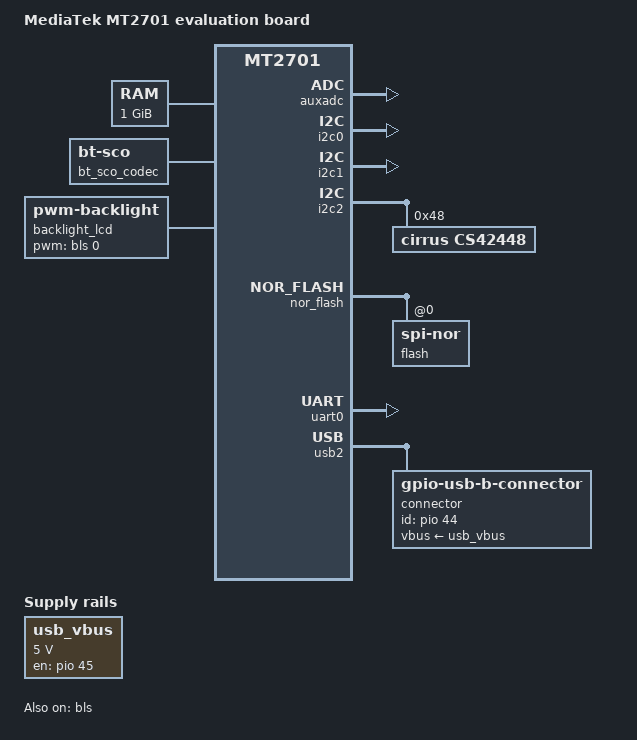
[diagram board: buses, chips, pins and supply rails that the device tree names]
// SPDX-License-Identifier: GPL-2.0
/*
 * Copyright (c) 2015 MediaTek Inc.
 * Author: Erin Lo <erin.lo@mediatek.com>
 *
 */

/dts-v1/;
#include <dt-bindings/gpio/gpio.h>
#include "mt2701.dtsi"

/ {
	model = "MediaTek MT2701 evaluation board";
	compatible = "mediatek,mt2701-evb", "mediatek,mt2701";

	memory {
		device_type = "memory";
		reg = <0 0x80000000 0 0x40000000>;
	};

	sound:sound {
		compatible = "mediatek,mt2701-cs42448-machine";
		mediatek,platform = <&afe>;
		/* CS42448 Machine name */
		audio-routing =
		"Line Out Jack", "AOUT1L",
		"Line Out Jack", "AOUT1R",
		"Line Out Jack", "AOUT2L",
		"Line Out Jack", "AOUT2R",
		"Line Out Jack", "AOUT3L",
		"Line Out Jack", "AOUT3R",
		"Line Out Jack", "AOUT4L",
		"Line Out Jack", "AOUT4R",
		"AIN1L", "AMIC",
		"AIN1R", "AMIC",
		"AIN2L", "Tuner In",
		"AIN2R", "Tuner In",
		"AIN3L", "Satellite Tuner In",
		"AIN3R", "Satellite Tuner In",
		"AIN3L", "AUX In",
		"AIN3R", "AUX In";
		mediatek,audio-codec = <&cs42448>;
		mediatek,audio-codec-bt-mrg = <&bt_sco_codec>;
		pinctrl-names = "default";
		pinctrl-0 = <&aud_pins_default>;
		i2s1-in-sel-gpio1 = <&pio 53 0>;
		i2s1-in-sel-gpio2 = <&pio 54 0>;
		status = "okay";
	};

	bt_sco_codec:bt_sco_codec {
		compatible = "linux,bt-sco";
	};

	backlight_lcd: backlight_lcd {
		compatible = "pwm-backlight";
		pwms = <&bls 0 100000>;
		brightness-levels = <
			  0  16  32  48  64  80  96 112
			128 144 160 176 192 208 224 240
			255
		>;
		default-brightness-level = <9>;
	};

	usb_vbus: regulator@0 {
		compatible = "regulator-fixed";
		regulator-name = "usb_vbus";
		regulator-min-microvolt = <5000000>;
		regulator-max-microvolt = <5000000>;
		gpio = <&pio 45 GPIO_ACTIVE_HIGH>;
		enable-active-high;
	};
};

&auxadc {
	status = "okay";
};

&bls {
	status = "okay";
	pinctrl-names = "default";
	pinctrl-0 = <&pwm_bls_gpio>;
};

&i2c0 {
	pinctrl-names = "default";
	pinctrl-0 = <&i2c0_pins_a>;
	status = "okay";
};

&i2c1 {
	pinctrl-names = "default";
	pinctrl-0 = <&i2c1_pins_a>;
	status = "okay";
};

&i2c2 {
	pinctrl-names = "default";
	pinctrl-0 = <&i2c2_pins_a>;
	status = "okay";
	cs42448: cs42448@48 {
		compatible = "cirrus,cs42448";
		reg = <0x48>;
		clocks = <&topckgen CLK_TOP_AUD_I2S1_MCLK>;
		clock-names = "mclk";
	};
};

&pio {
	i2c0_pins_a: i2c0@0 {
		pins1 {
			pinmux = <MT2701_PIN_75_SDA0__FUNC_SDA0>,
				 <MT2701_PIN_76_SCL0__FUNC_SCL0>;
			bias-disable;
		};
	};

	i2c1_pins_a: i2c1@0 {
		pins1 {
			pinmux = <MT2701_PIN_57_SDA1__FUNC_SDA1>,
				 <MT2701_PIN_58_SCL1__FUNC_SCL1>;
			bias-disable;
		};
	};

	i2c2_pins_a: i2c2@0 {
		pins1 {
			pinmux = <MT2701_PIN_77_SDA2__FUNC_SDA2>,
				 <MT2701_PIN_78_SCL2__FUNC_SCL2>;
			bias-disable;
		};
	};

	pwm_bls_gpio: pwm_bls_gpio {
		pins_cmd_dat {
			pinmux = <MT2701_PIN_208_AUD_EXT_CK1__FUNC_DISP_PWM>;
		};
	};

	spi_pins_a: spi0@0 {
		pins_spi {
			pinmux = <MT2701_PIN_53_SPI0_CSN__FUNC_SPI0_CS>,
				 <MT2701_PIN_54_SPI0_CK__FUNC_SPI0_CK>,
				 <MT2701_PIN_55_SPI0_MI__FUNC_SPI0_MI>,
				 <MT2701_PIN_56_SPI0_MO__FUNC_SPI0_MO>;
			bias-disable;
		};
	};

	aud_pins_default: audiodefault {
		pins_cmd_dat {
			pinmux = <MT2701_PIN_49_I2S0_DATA__FUNC_I2S0_DATA>,
				 <MT2701_PIN_72_I2S0_DATA_IN__FUNC_I2S0_DATA_IN>,
				 <MT2701_PIN_73_I2S0_LRCK__FUNC_I2S0_LRCK>,
				 <MT2701_PIN_74_I2S0_BCK__FUNC_I2S0_BCK>,
				 <MT2701_PIN_126_I2S0_MCLK__FUNC_I2S0_MCLK>,
				 <MT2701_PIN_33_I2S1_DATA__FUNC_I2S1_DATA>,
				 <MT2701_PIN_34_I2S1_DATA_IN__FUNC_I2S1_DATA_IN>,
				 <MT2701_PIN_35_I2S1_BCK__FUNC_I2S1_BCK>,
				 <MT2701_PIN_36_I2S1_LRCK__FUNC_I2S1_LRCK>,
				 <MT2701_PIN_37_I2S1_MCLK__FUNC_I2S1_MCLK>,
				 <MT2701_PIN_203_PWM0__FUNC_I2S2_DATA>,
				 <MT2701_PIN_204_PWM1__FUNC_I2S3_DATA>,
				 <MT2701_PIN_53_SPI0_CSN__FUNC_GPIO53>,
				 <MT2701_PIN_54_SPI0_CK__FUNC_GPIO54>,
				 <MT2701_PIN_18_PCM_CLK__FUNC_MRG_CLK>,
				 <MT2701_PIN_19_PCM_SYNC__FUNC_MRG_SYNC>,
				 <MT2701_PIN_20_PCM_RX__FUNC_MRG_TX>,
				 <MT2701_PIN_21_PCM_TX__FUNC_MRG_RX>;
			drive-strength = <MTK_DRIVE_12mA>;
			bias-pull-down;
		};
	};

	spi_pins_b: spi1@0 {
		pins_spi {
			pinmux = <MT2701_PIN_7_SPI1_CSN__FUNC_SPI1_CS>,
				 <MT2701_PIN_8_SPI1_MI__FUNC_SPI1_MI>,
				 <MT2701_PIN_9_SPI1_MO__FUNC_SPI1_MO>,
				 <MT2701_PIN_199_SPI1_CLK__FUNC_SPI1_CK>;
			bias-disable;
		};
	};

	spi_pins_c: spi2@0 {
		pins_spi {
			pinmux = <MT2701_PIN_101_SPI2_CSN__FUNC_SPI2_CS>,
				 <MT2701_PIN_102_SPI2_MI__FUNC_SPI2_MI>,
				 <MT2701_PIN_103_SPI2_MO__FUNC_SPI2_MO>,
				 <MT2701_PIN_104_SPI2_CLK__FUNC_SPI2_CK>;
			bias-disable;
		};
	};
};

&spi0 {
	pinctrl-names = "default";
	pinctrl-0 = <&spi_pins_a>;
	status = "disabled";
};

&spi1 {
	pinctrl-names = "default";
	pinctrl-0 = <&spi_pins_b>;
	status = "disabled";
};

&spi2 {
	pinctrl-names = "default";
	pinctrl-0 = <&spi_pins_c>;
	status = "disabled";
};

&nor_flash {
	pinctrl-names = "default";
	pinctrl-0 = <&nor_pins_default>;
	status = "okay";
	flash@0 {
		compatible = "jedec,spi-nor";
		reg = <0>;
	};
};

&pio {
	nor_pins_default: nor {
		pins1 {
			pinmux = <MT2701_PIN_240_EXT_XCS__FUNC_EXT_XCS>,
				 <MT2701_PIN_241_EXT_SCK__FUNC_EXT_SCK>,
				 <MT2701_PIN_239_EXT_SDIO0__FUNC_EXT_SDIO0>,
				 <MT2701_PIN_238_EXT_SDIO1__FUNC_EXT_SDIO1>,
				 <MT2701_PIN_237_EXT_SDIO2__FUNC_EXT_SDIO2>,
				 <MT2701_PIN_236_EXT_SDIO3__FUNC_EXT_SDIO3>;
			drive-strength = <MTK_DRIVE_4mA>;
			bias-pull-up;
		};
	};
};

&uart0 {
	status = "okay";
};

&usb2 {
	status = "okay";
	usb-role-switch;
	connector {
		compatible = "gpio-usb-b-connector", "usb-b-connector";
		type = "micro";
		id-gpios = <&pio 44 GPIO_ACTIVE_HIGH>;
		vbus-supply = <&usb_vbus>;
	};
};
